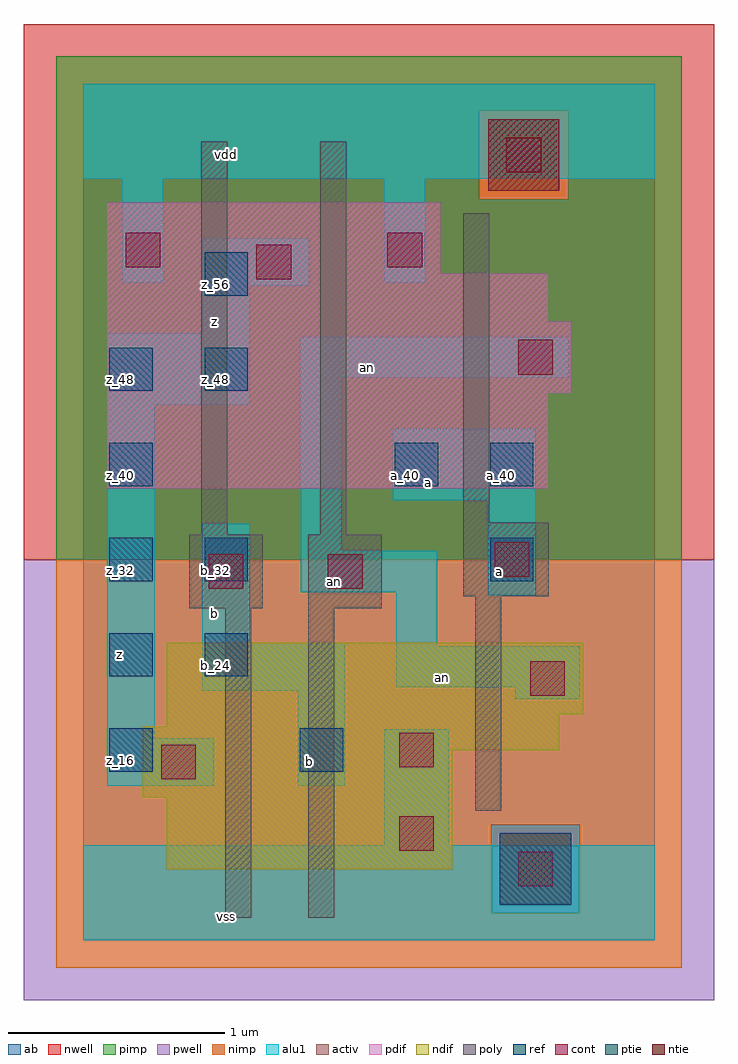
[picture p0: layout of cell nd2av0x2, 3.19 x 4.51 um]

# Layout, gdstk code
import gdstk
lib = gdstk.Library(unit=1e-6, precision=2.5e-09)
def R(c, l, rs):  # rectangles x0, y0, x1, y1
    for r in rs: c.add(gdstk.rectangle(r[:2], r[2:], *l))
def A(c, l, x, y, w, h, nx, ny, dx, dy):  # array of equal rectangles
    R(c, l, [(x+i*dx, y+j*dy, x+i*dx+w, y+j*dy+h) for i in range(nx) for j in range(ny)])
ndif = (3, 0)
pdif = (4, 0)
ntie = (5, 0)
ptie = (6, 0)
ref = (24, 0)
cont = (25, 0)
pwell = (41, 0)
nwell = (42, 0)
activ = (43, 0)
pimp = (44, 0)
nimp = (45, 0)
poly = (46, 0)
alu1 = (49, 0)
ab = (63, 0)

nd2av0x2 = lib.new_cell('nd2av0x2')
R(nd2av0x2, ndif, [(0.385,0.33,1.705,0.66), (0.275,0.66,1.705,0.88), (0.275,0.88,2.2,0.99), (0.385,0.99,2.2,1.045), (0.385,1.045,2.31,1.375)])
R(nd2av0x2, pdif, [(0.11,2.09,2.145,2.53), (0.11,2.53,2.255,2.86), (0.11,2.86,2.145,3.08), (0.11,3.08,1.65,3.41)])
R(nd2av0x2, ntie, [(1.87,3.465,2.2,3.795)])
R(nd2av0x2, ptie, [(1.925,0.165,2.255,0.495)])
A(nd2av0x2, ref, 0.12, 0.78, 0.2, 0.2, 1, 5, 0, 0.44)
R(nd2av0x2, ref, [(1,0.78,1.2,0.98), (0.56,1.22,0.76,1.42), (0.56,1.66,0.76,1.86), (1.88,1.66,2.08,1.86), (1.44,2.1,1.64,2.3), (1.88,2.1,2.08,2.3), (0.56,2.54,0.76,2.74), (0.56,2.98,0.76,3.18)])
R(nd2av0x2, cont, [(2.01,0.25,2.17,0.41), (1.46,0.415,1.62,0.575), (0.36,0.745,0.52,0.905), (1.46,0.8,1.62,0.96), (2.065,1.13,2.225,1.29), (0.58,1.625,0.74,1.785), (1.13,1.625,1.29,1.785), (1.9,1.68,2.06,1.84), (2.01,2.615,2.17,2.775), (0.8,3.055,0.96,3.215), (0.195,3.11,0.355,3.27), (1.405,3.11,1.565,3.27), (1.955,3.55,2.115,3.71)])
R(nd2av0x2, pwell, [(-0.275,-0.275,2.915,1.76)])
R(nd2av0x2, nwell, [(-0.275,1.76,2.915,4.235)])
R(nd2av0x2, activ, [(1.925,0.165,2.255,0.495), (0.385,0.33,1.705,0.66), (0.275,0.66,1.705,0.88), (0.275,0.88,2.2,0.99), (0.385,0.99,2.2,1.045), (0.385,1.045,2.31,1.375), (0.11,2.09,2.145,2.53), (0.11,2.53,2.255,2.86), (0.11,2.86,2.145,3.08), (0.11,3.08,1.65,3.41), (1.87,3.465,2.2,3.795)])
R(nd2av0x2, pimp, [(1.885,0.125,2.295,0.535), (-0.125,1.76,2.765,3.425), (-0.125,3.425,1.83,3.835), (2.24,3.425,2.765,3.835), (-0.125,3.835,2.765,4.085)])
R(nd2av0x2, nimp, [(-0.125,-0.125,2.765,0.125), (-0.125,0.125,1.885,0.535), (2.295,0.125,2.765,0.535), (-0.125,0.535,2.765,1.76), (1.83,3.425,2.24,3.835)])
R(nd2av0x2, poly, [(0.655,0.105,0.775,1.535), (1.04,0.105,1.16,1.535), (1.81,0.6,1.93,1.59), (0.49,1.535,0.83,1.875), (1.04,1.535,1.38,1.875), (1.755,1.59,2.15,1.93), (0.545,1.875,0.665,3.69), (1.095,1.875,1.215,3.69), (1.755,1.93,1.875,3.36)])
R(nd2av0x2, alu1, [(0,0,2.64,0.44), (1.39,0.44,1.69,0.975), (0.11,0.715,0.605,0.935), (0.99,0.715,1.21,1.155), (0.11,0.935,0.33,2.475), (1.995,1.115,2.295,1.17), (0.55,1.155,1.21,1.375), (1.445,1.17,2.295,1.36), (1.445,1.36,1.635,1.61), (0.55,1.375,0.77,1.925), (1.87,1.595,2.09,2.035), (1.005,1.61,1.635,1.8), (1.005,1.8,1.195,2.6), (1.43,2.035,2.09,2.365), (0.11,2.475,0.77,2.805), (1.005,2.6,2.24,2.79), (0.55,2.805,0.77,3.025), (0.55,3.025,1.045,3.245), (0.18,3.04,0.37,3.52), (1.39,3.04,1.58,3.52), (0,3.52,2.64,3.96)])
R(nd2av0x2, ab, [(0,0,2.64,3.96)])
nd2av0x2.add(gdstk.Label('vss', (0.66,0.11), layer=49, texttype=0))
nd2av0x2.add(gdstk.Label('b', (1.045,0.825), layer=49, texttype=0))
nd2av0x2.add(gdstk.Label('an', (1.6575,1.2175), layer=49, texttype=0))
nd2av0x2.add(gdstk.Label('a', (1.925,1.705), layer=49, texttype=0))
nd2av0x2.add(gdstk.Label('an', (1.1625,1.6575), layer=49, texttype=0))
nd2av0x2.add(gdstk.Label('a', (1.595,2.1175), layer=49, texttype=0))
nd2av0x2.add(gdstk.Label('b', (0.605,1.5125), layer=49, texttype=0))
nd2av0x2.add(gdstk.Label('z', (0.165,1.32), layer=49, texttype=0))
nd2av0x2.add(gdstk.Label('an', (1.3125,2.6475), layer=49, texttype=0))
nd2av0x2.add(gdstk.Label('z', (0.605,2.86), layer=49, texttype=0))
nd2av0x2.add(gdstk.Label('vdd', (0.66,3.63), layer=49, texttype=0))
nd2av0x2.add(gdstk.Label('b_24', (0.61,1.27), layer=24, texttype=0))
nd2av0x2.add(gdstk.Label('b_32', (0.61,1.71), layer=24, texttype=0))
nd2av0x2.add(gdstk.Label('z_48', (0.61,2.59), layer=24, texttype=0))
nd2av0x2.add(gdstk.Label('z_56', (0.61,3.03), layer=24, texttype=0))
nd2av0x2.add(gdstk.Label('b_16', (1.05,0.83), layer=24, texttype=0))
nd2av0x2.add(gdstk.Label('a_40', (1.49,2.15), layer=24, texttype=0))
nd2av0x2.add(gdstk.Label('a_32', (1.93,1.71), layer=24, texttype=0))
nd2av0x2.add(gdstk.Label('a_40', (1.93,2.15), layer=24, texttype=0))
nd2av0x2.add(gdstk.Label('z_16', (0.17,0.83), layer=24, texttype=0))
nd2av0x2.add(gdstk.Label('z_24', (0.17,1.27), layer=24, texttype=0))
nd2av0x2.add(gdstk.Label('z_32', (0.17,1.71), layer=24, texttype=0))
nd2av0x2.add(gdstk.Label('z_40', (0.17,2.15), layer=24, texttype=0))
nd2av0x2.add(gdstk.Label('z_48', (0.17,2.59), layer=24, texttype=0))

lib.write_gds('nd2av0x2.gds')
